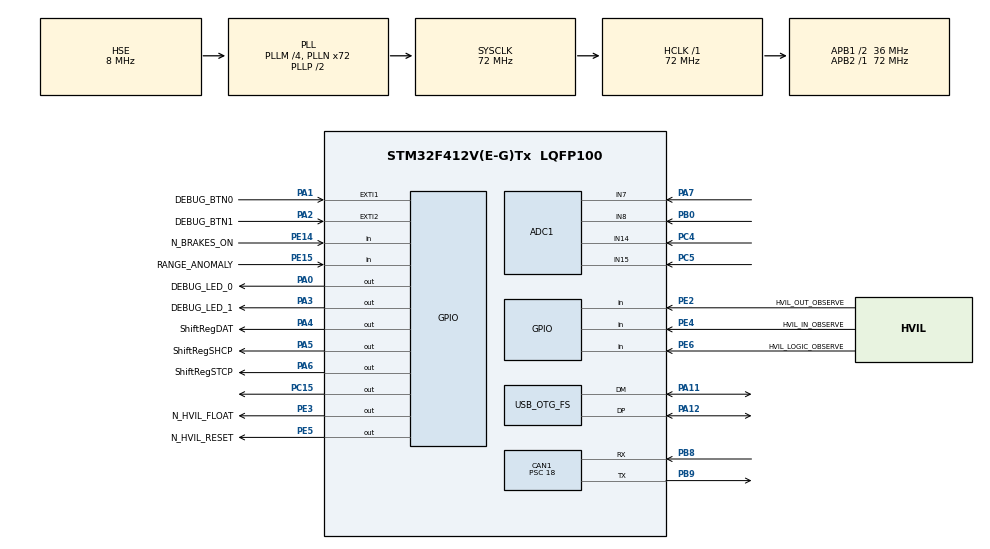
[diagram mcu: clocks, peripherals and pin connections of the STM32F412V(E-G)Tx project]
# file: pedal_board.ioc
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ADC1.Channel-0\#ChannelRegularConversion=ADC_CHANNEL_7
ADC1.ContinuousConvMode=ENABLE
ADC1.DiscontinuousConvMode=DISABLE
ADC1.NbrOfConversion=1
ADC1.NbrOfConversionFlag=1
ADC1.Rank-0\#ChannelRegularConversion=1
ADC1.SamplingTime-0\#ChannelRegularConversion=ADC_SAMPLETIME_3CYCLES
ADC1.ScanConvMode=ENABLE
ADC1.master=1
CAN1.BS1=CAN_BS1_2TQ
CAN1.CalculateBaudRate=500000
CAN1.CalculateTimeBit=2000
CAN1.CalculateTimeQuantum=500.0
CAN1.Mode=CAN_MODE_LOOPBACK
CAN1.Prescaler=18
Mcu.Family=STM32F4
Mcu.Name=STM32F412V(E-G)Tx
Mcu.Package=LQFP100
NVIC.CAN1_RX0_IRQn=true\:0\:0\:false\:false\:true\:true\:true\:true
NVIC.CAN1_RX1_IRQn=true\:0\:0\:false\:false\:true\:true\:true\:true
NVIC.OTG_FS_IRQn=true\:0\:0\:false\:false\:true\:false\:true\:true
NVIC.PriorityGroup=NVIC_PRIORITYGROUP_4
PA0.GPIO_Label=DEBUG_LED_0
PA0.GPIO_PuPd=GPIO_PULLDOWN
PA0.Signal=GPIO_Output
PA1.GPIO_Label=DEBUG_BTN0
PA1.Signal=GPXTI1
PA11.Mode=Device_Only
PA11.Signal=USB_OTG_FS_DM
PA12.Mode=Device_Only
PA12.Signal=USB_OTG_FS_DP
PA13.Mode=Serial_Wire
PA13.Signal=SYS_JTMS-SWDIO
PA14.Mode=Serial_Wire
PA14.Signal=SYS_JTCK-SWCLK
PA2.GPIO_Label=DEBUG_BTN1
PA2.Signal=GPXTI2
PA3.GPIO_Label=DEBUG_LED_1
PA3.GPIO_PuPd=GPIO_PULLDOWN
PA3.Signal=GPIO_Output
PA4.GPIO_Label=ShiftRegDAT
PA4.Signal=GPIO_Output
PA5.GPIO_Label=ShiftRegSHCP
PA5.Signal=GPIO_Output
PA6.GPIO_Label=ShiftRegSTCP
PA6.Signal=GPIO_Output
PA7.Signal=ADCx_IN7
PB0.Signal=ADCx_IN8
PB8.Mode=CAN_Activate
PB8.Signal=CAN1_RX
PB9.Mode=CAN_Activate
PB9.Signal=CAN1_TX
PC15-OSC32_OUT.Signal=GPIO_Output
PC4.Signal=ADCx_IN14
PC5.Signal=ADCx_IN15
PD12.Signal=S_TIM4_CH1
PE14.GPIO_Label=N_BRAKES_ON
PE14.GPIO_PuPd=GPIO_PULLUP
PE14.Signal=GPIO_Input
PE15.GPIO_Label=RANGE_ANOMALY
PE15.GPIO_PuPd=GPIO_NOPULL
PE15.Signal=GPIO_Input
PE2.GPIO_Label=HVIL_OUT_OBSERVE
PE2.Signal=GPIO_Input
PE3.GPIO_Label=N_HVIL_FLOAT
PE3.GPIO_PuPd=GPIO_PULLUP
PE3.PinState=GPIO_PIN_SET
PE3.Signal=GPIO_Output
PE4.GPIO_Label=HVIL_IN_OBSERVE
PE4.Signal=GPIO_Input
PE5.GPIO_Label=N_HVIL_RESET
PE5.GPIO_PuPd=GPIO_PULLUP
PE5.PinState=GPIO_PIN_SET
PE5.Signal=GPIO_Output
PE6.GPIO_Label=HVIL_LOGIC_OBSERVE
PE6.Signal=GPIO_Input
PH0\ -\ OSC_IN.Mode=HSE-External-Oscillator
PH0\ -\ OSC_IN.Signal=RCC_OSC_IN
PH1\ -\ OSC_OUT.Mode=HSE-External-Oscillator
PH1\ -\ OSC_OUT.Signal=RCC_OSC_OUT
ProjectManager.HeapSize=0x200
ProjectManager.StackSize=0x400
ProjectManager.TargetToolchain=STM32CubeIDE
RCC.AHBFreq_Value=72000000
RCC.APB1CLKDivider=RCC_HCLK_DIV2
RCC.APB1Freq_Value=36000000
RCC.APB1TimFreq_Value=72000000
RCC.APB2Freq_Value=72000000
RCC.APB2TimFreq_Value=72000000
RCC.CortexFreq_Value=72000000
RCC.EnbaleCSS=true
RCC.HCLKFreq_Value=72000000
RCC.HSE_VALUE=8000000
RCC.PLLM=4
RCC.PLLN=72
RCC.PLLQ=3
RCC.SYSCLKFreq_VALUE=72000000
RCC.SYSCLKSource=RCC_SYSCLKSOURCE_PLLCLK
RCC.USBFreq_Value=48000000
RCC.VCOOutputFreq_Value=144000000
SH.ADCx_IN14.0=ADC1_IN14,IN14
SH.ADCx_IN15.0=ADC1_IN15,IN15
SH.ADCx_IN7.0=ADC1_IN7,IN7
SH.ADCx_IN8.0=ADC1_IN8,IN8
SH.S_TIM4_CH1.0=TIM4_CH1
TIM3.Period=500
TIM3.Prescaler=7200
USB_DEVICE.CLASS_NAME_FS=CDC
USB_DEVICE.VirtualMode=Cdc
USB_DEVICE.VirtualModeFS=Cdc_FS
USB_OTG_FS.VirtualMode=Device_Only
VP_TIM3_VS_ClockSourceINT.Mode=Internal
VP_USB_DEVICE_VS_USB_DEVICE_CDC_FS.Mode=CDC_FS
board=custom

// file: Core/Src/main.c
/* USER CODE BEGIN Header */
/**
  ******************************************************************************
  * @file           : main.c
  * @brief          : Main program body
  ******************************************************************************
  * @attention
  *
  * Copyright (c) 2023 STMicroelectronics.
  * All rights reserved.
  *
  * This software is licensed under terms that can be found in the LICENSE file
  * in the root directory of this software component.
  * If no LICENSE file comes with this software, it is provided AS-IS.
  *
  ******************************************************************************
  */
/* USER CODE END Header */
#include "main.h"
#include "usb_device.h"

/* USER CODE BEGIN Includes */
#include "74hc595.h"
#include "buttons.h"
/* USER CODE END Includes */

/* USER CODE BEGIN PD */
#define ADC_TIMEOUT_MS 100
#define DEVICE_ID 0x001
/* USER CODE END PD */

ADC_HandleTypeDef hadc1;

CAN_HandleTypeDef hcan1;

TIM_HandleTypeDef htim3;

/* USER CODE BEGIN PV */
enum {
	APPS1_CHANNEL=ADC_CHANNEL_7,
	APPS2_CHANNEL=ADC_CHANNEL_15,
	BSE1_CHANNEL=ADC_CHANNEL_14,
	BSE2_CHANNEL=ADC_CHANNEL_7,
};
const uint32_t sensor_channels[] = {APPS1_CHANNEL, APPS2_CHANNEL, BSE1_CHANNEL, BSE2_CHANNEL};

uint8_t 				hvil_out, hvil_logic, hvil_in, btn1_pressed, btn2_pressed, brakes_on, bad_range;
uint8_t					TxData[5];
uint8_t					RxData[5];
uint8_t 				pedal_vals[5];
CAN_TxHeaderTypeDef   	TxHeader;
CAN_RxHeaderTypeDef   	RxHeader;
uint32_t              	TxMailbox = 0;
/* USER CODE END PV */

void SystemClock_Config(void);
static void MX_GPIO_Init(void);
static void MX_ADC1_Init(void);
static void MX_CAN1_Init(void);
static void MX_TIM3_Init(void);
/* USER CODE BEGIN PFP */
void ADC_channel_select(int channel);
/* USER CODE END PFP */

/* USER CODE BEGIN 0 */
void ADC_channel_select(int channel)
{
  ADC_ChannelConfTypeDef sConfig = {0};
  sConfig.Channel = channel;
  sConfig.Rank = 1;
  sConfig.SamplingTime = ADC_SAMPLETIME_3CYCLES;
  if (HAL_ADC_ConfigChannel(&hadc1, &sConfig) != HAL_OK)
  {
    Error_Handler();
  }
}

void HAL_GPIO_EXTI_Callback(uint16_t GPIO_Pin)
{
	/* some sort of interrupt callback for the buttons*/
	HAL_GPIO_TogglePin(GPIOA, DEBUG_LED_0_Pin);
}

void HAL_CAN_RxFifo0MsgPendingCallback(CAN_HandleTypeDef *hcan)
{
	HAL_CAN_GetRxMessage(hcan, CAN_RX_FIFO0, &RxHeader, RxData);	// don't delay after this!
}
/* USER CODE END 0 */

int main(void)
{

  /* MCU Configuration--------------------------------------------------------*/

  /* Reset of all peripherals, Initializes the Flash interface and the Systick. */
  HAL_Init();

  /* USER CODE BEGIN Init */
  TxHeader.IDE = CAN_ID_STD;
  TxHeader.StdId = 0x466;
  TxHeader.RTR = CAN_RTR_DATA;
  TxHeader.DLC = 5;
  TxHeader.TransmitGlobalTime = DISABLE;
  /* USER CODE END Init */

  /* Configure the system clock */
  SystemClock_Config();

  /* Initialize all configured peripherals */
  MX_GPIO_Init();
  MX_ADC1_Init();
  MX_CAN1_Init();
  MX_USB_DEVICE_Init();
  MX_TIM3_Init();
  /* USER CODE BEGIN 2 */
  HAL_CAN_Start(&hcan1);
  HAL_CAN_ActivateNotification(&hcan1, CAN_IT_RX_FIFO0_MSG_PENDING);

  shift_reg_init(ShiftRegSHCP_GPIO_Port, ShiftRegSTCP_GPIO_Port, ShiftRegDAT_GPIO_Port,
                 ShiftRegSHCP_Pin, ShiftRegSTCP_Pin, ShiftRegDAT_Pin);
  /* USER CODE END 2 */

  /* Infinite loop */
  /* USER CODE BEGIN WHILE */
  while (1)
  {
	  hvil_out = HAL_GPIO_ReadPin(GPIOE, HVIL_OUT_OBSERVE_Pin);
	  hvil_logic = HAL_GPIO_ReadPin(GPIOE, HVIL_LOGIC_OBSERVE_Pin);
	  hvil_in = HAL_GPIO_ReadPin(GPIOE, HVIL_IN_OBSERVE_Pin);
	  brakes_on = !HAL_GPIO_ReadPin(GPIOE, N_BRAKES_ON_Pin);

	  if (HAL_GPIO_ReadPin(GPIOE, RANGE_ANOMALY_Pin)) {
//		  Error_Handler();
	  }

	  /* Read petal sensor values from ADC */
	  for (int i = 0; i < 4; i++) {
		  HAL_ADC_Start(&hadc1);
		  ADC_channel_select(sensor_channels[i]);
		  HAL_ADC_PollForConversion(&hadc1, ADC_TIMEOUT_MS);
		  pedal_vals[i] = HAL_ADC_GetValue(&hadc1);
		  HAL_ADC_Stop(&hadc1);
	  }
	  pedal_vals[4] = brakes_on;

	  for (int i = 0; i < 5; i++) {
		  TxData[i] = pedal_vals[i];
	  }

	  HAL_Delay(1);	// so that the CAN transmissions don't pile up
	  if (HAL_CAN_AddTxMessage(&hcan1, &TxHeader, TxData, &TxMailbox) != HAL_OK) {
		  HAL_GPIO_WritePin(GPIOA, DEBUG_LED_1_Pin, GPIO_PIN_SET);
	//	   Error_Handler ();
	  }
//	  HAL_GPIO_WritePin(DEBUG_LED_0_GPIO_Port, DEBUG_LED_0_Pin, GPIO_PIN_SET);

//	  Number cycling demo
	  for (int i = 0; i < 100; i++){
	  shift_reg_display(i, DPOFF, DPOFF);
	  HAL_Delay(100);
	  }

    /* USER CODE END WHILE */

  }
}
}

void SystemClock_Config(void)
{
  RCC_OscInitTypeDef RCC_OscInitStruct = {0};
  RCC_ClkInitTypeDef RCC_ClkInitStruct = {0};

  /** Configure the main internal regulator output voltage
  */
  __HAL_RCC_PWR_CLK_ENABLE();
  __HAL_PWR_VOLTAGESCALING_CONFIG(PWR_REGULATOR_VOLTAGE_SCALE1);

  /** Initializes the RCC Oscillators according to the specified parameters
  * in the RCC_OscInitTypeDef structure.
  */
  RCC_OscInitStruct.OscillatorType = RCC_OSCILLATORTYPE_HSE;
  RCC_OscInitStruct.HSEState = RCC_HSE_ON;
  RCC_OscInitStruct.PLL.PLLState = RCC_PLL_ON;
  RCC_OscInitStruct.PLL.PLLSource = RCC_PLLSOURCE_HSE;
  RCC_OscInitStruct.PLL.PLLM = 4;
  RCC_OscInitStruct.PLL.PLLN = 72;
  RCC_OscInitStruct.PLL.PLLP = RCC_PLLP_DIV2;
  RCC_OscInitStruct.PLL.PLLQ = 3;
  RCC_OscInitStruct.PLL.PLLR = 2;
  if (HAL_RCC_OscConfig(&RCC_OscInitStruct) != HAL_OK)
  {
    Error_Handler();
  }

  /** Initializes the CPU, AHB and APB buses clocks
  */
  RCC_ClkInitStruct.ClockType = RCC_CLOCKTYPE_HCLK|RCC_CLOCKTYPE_SYSCLK
                              |RCC_CLOCKTYPE_PCLK1|RCC_CLOCKTYPE_PCLK2;
  RCC_ClkInitStruct.SYSCLKSource = RCC_SYSCLKSOURCE_PLLCLK;
  RCC_ClkInitStruct.AHBCLKDivider = RCC_SYSCLK_DIV1;
  RCC_ClkInitStruct.APB1CLKDivider = RCC_HCLK_DIV2;
  RCC_ClkInitStruct.APB2CLKDivider = RCC_HCLK_DIV1;

  if (HAL_RCC_ClockConfig(&RCC_ClkInitStruct, FLASH_LATENCY_2) != HAL_OK)
  {
    Error_Handler();
  }

  /** Enables the Clock Security System
  */
  HAL_RCC_EnableCSS();
}

static void MX_ADC1_Init(void)
{

  ADC_ChannelConfTypeDef sConfig = {0};

  /** Configure the global features of the ADC (Clock, Resolution, Data Alignment and number of conversion)
  */
  hadc1.Instance = ADC1;
  hadc1.Init.ClockPrescaler = ADC_CLOCK_SYNC_PCLK_DIV2;
  hadc1.Init.Resolution = ADC_RESOLUTION_12B;
  hadc1.Init.ScanConvMode = ENABLE;
  hadc1.Init.ContinuousConvMode = ENABLE;
  hadc1.Init.DiscontinuousConvMode = DISABLE;
  hadc1.Init.ExternalTrigConvEdge = ADC_EXTERNALTRIGCONVEDGE_NONE;
  hadc1.Init.ExternalTrigConv = ADC_SOFTWARE_START;
  hadc1.Init.DataAlign = ADC_DATAALIGN_RIGHT;
  hadc1.Init.NbrOfConversion = 1;
  hadc1.Init.DMAContinuousRequests = DISABLE;
  hadc1.Init.EOCSelection = ADC_EOC_SINGLE_CONV;
  if (HAL_ADC_Init(&hadc1) != HAL_OK)
  {
    Error_Handler();
  }

  /** Configure for the selected ADC regular channel its corresponding rank in the sequencer and its sample time.
  */
  sConfig.Channel = ADC_CHANNEL_7;
  sConfig.Rank = 1;
  sConfig.SamplingTime = ADC_SAMPLETIME_3CYCLES;
  if (HAL_ADC_ConfigChannel(&hadc1, &sConfig) != HAL_OK)
  {
    Error_Handler();
  }

}

static void MX_CAN1_Init(void)
{

  hcan1.Instance = CAN1;
  hcan1.Init.Prescaler = 18;
  hcan1.Init.Mode = CAN_MODE_LOOPBACK;
  hcan1.Init.SyncJumpWidth = CAN_SJW_1TQ;
  hcan1.Init.TimeSeg1 = CAN_BS1_2TQ;
  hcan1.Init.TimeSeg2 = CAN_BS2_1TQ;
  hcan1.Init.TimeTriggeredMode = DISABLE;
  hcan1.Init.AutoBusOff = DISABLE;
  hcan1.Init.AutoWakeUp = DISABLE;
  hcan1.Init.AutoRetransmission = DISABLE;
  hcan1.Init.ReceiveFifoLocked = DISABLE;
  hcan1.Init.TransmitFifoPriority = DISABLE;
  if (HAL_CAN_Init(&hcan1) != HAL_OK)
  {
    Error_Handler();
  }
  /* USER CODE BEGIN CAN1_Init 2 */
  CAN_FilterTypeDef canfilterconfig;
  canfilterconfig.FilterActivation = CAN_FILTER_ENABLE;
  canfilterconfig.FilterBank = 10;
  canfilterconfig.FilterFIFOAssignment = CAN_RX_FIFO0;
  canfilterconfig.FilterIdHigh = 0;
  canfilterconfig.FilterIdLow = 0x000;
  canfilterconfig.FilterMaskIdHigh = 0;
  canfilterconfig.FilterMaskIdLow = 0x000;
  canfilterconfig.FilterMode = CAN_FILTERMODE_IDMASK;
  canfilterconfig.FilterScale = CAN_FILTERSCALE_32BIT;
  canfilterconfig.SlaveStartFilterBank = 0;

  HAL_CAN_ConfigFilter(&hcan1, &canfilterconfig);
  /* USER CODE END CAN1_Init 2 */

}

static void MX_TIM3_Init(void)
{

  TIM_ClockConfigTypeDef sClockSourceConfig = {0};
  TIM_MasterConfigTypeDef sMasterConfig = {0};

  htim3.Instance = TIM3;
  htim3.Init.Prescaler = 7200;
  htim3.Init.CounterMode = TIM_COUNTERMODE_UP;
  htim3.Init.Period = 500;
  htim3.Init.ClockDivision = TIM_CLOCKDIVISION_DIV1;
  htim3.Init.AutoReloadPreload = TIM_AUTORELOAD_PRELOAD_DISABLE;
  if (HAL_TIM_Base_Init(&htim3) != HAL_OK)
  {
    Error_Handler();
  }
  sClockSourceConfig.ClockSource = TIM_CLOCKSOURCE_INTERNAL;
  if (HAL_TIM_ConfigClockSource(&htim3, &sClockSourceConfig) != HAL_OK)
  {
    Error_Handler();
  }
  sMasterConfig.MasterOutputTrigger = TIM_TRGO_RESET;
  sMasterConfig.MasterSlaveMode = TIM_MASTERSLAVEMODE_DISABLE;
  if (HAL_TIMEx_MasterConfigSynchronization(&htim3, &sMasterConfig) != HAL_OK)
  {
    Error_Handler();
  }

}

static void MX_GPIO_Init(void)
{
  GPIO_InitTypeDef GPIO_InitStruct = {0};

  /* GPIO Ports Clock Enable */
  __HAL_RCC_GPIOE_CLK_ENABLE();
  __HAL_RCC_GPIOC_CLK_ENABLE();
  __HAL_RCC_GPIOH_CLK_ENABLE();
  __HAL_RCC_GPIOA_CLK_ENABLE();
  __HAL_RCC_GPIOB_CLK_ENABLE();
  __HAL_RCC_GPIOD_CLK_ENABLE();

  /*Configure GPIO pin Output Level */
  HAL_GPIO_WritePin(GPIOE, N_HVIL_FLOAT_Pin|N_HVIL_RESET_Pin, GPIO_PIN_SET);

  /*Configure GPIO pin Output Level */
  HAL_GPIO_WritePin(GPIOC, GPIO_PIN_15, GPIO_PIN_RESET);

  /*Configure GPIO pin Output Level */
  HAL_GPIO_WritePin(GPIOA, DEBUG_LED_0_Pin|DEBUG_LED_1_Pin|ShiftRegDAT_Pin|ShiftRegSHCP_Pin
                          |ShiftRegSTCP_Pin, GPIO_PIN_RESET);

  /*Configure GPIO pins : HVIL_OUT_OBSERVE_Pin HVIL_IN_OBSERVE_Pin HVIL_LOGIC_OBSERVE_Pin RANGE_ANOMALY_Pin */
  GPIO_InitStruct.Pin = HVIL_OUT_OBSERVE_Pin|HVIL_IN_OBSERVE_Pin|HVIL_LOGIC_OBSERVE_Pin|RANGE_ANOMALY_Pin;
  GPIO_InitStruct.Mode = GPIO_MODE_INPUT;
  GPIO_InitStruct.Pull = GPIO_NOPULL;
  HAL_GPIO_Init(GPIOE, &GPIO_InitStruct);

  /*Configure GPIO pins : N_HVIL_FLOAT_Pin N_HVIL_RESET_Pin */
  GPIO_InitStruct.Pin = N_HVIL_FLOAT_Pin|N_HVIL_RESET_Pin;
  GPIO_InitStruct.Mode = GPIO_MODE_OUTPUT_PP;
  GPIO_InitStruct.Pull = GPIO_PULLUP;
  GPIO_InitStruct.Speed = GPIO_SPEED_FREQ_LOW;
  HAL_GPIO_Init(GPIOE, &GPIO_InitStruct);

  /*Configure GPIO pin : PC15 */
  GPIO_InitStruct.Pin = GPIO_PIN_15;
  GPIO_InitStruct.Mode = GPIO_MODE_OUTPUT_PP;
  GPIO_InitStruct.Pull = GPIO_NOPULL;
  GPIO_InitStruct.Speed = GPIO_SPEED_FREQ_LOW;
  HAL_GPIO_Init(GPIOC, &GPIO_InitStruct);

  /*Configure GPIO pins : DEBUG_LED_0_Pin DEBUG_LED_1_Pin */
  GPIO_InitStruct.Pin = DEBUG_LED_0_Pin|DEBUG_LED_1_Pin;
  GPIO_InitStruct.Mode = GPIO_MODE_OUTPUT_PP;
  GPIO_InitStruct.Pull = GPIO_PULLDOWN;
  GPIO_InitStruct.Speed = GPIO_SPEED_FREQ_LOW;
  HAL_GPIO_Init(GPIOA, &GPIO_InitStruct);

  /*Configure GPIO pins : DEBUG_BTN0_Pin DEBUG_BTN1_Pin */
  GPIO_InitStruct.Pin = DEBUG_BTN0_Pin|DEBUG_BTN1_Pin;
  GPIO_InitStruct.Mode = GPIO_MODE_IT_RISING;
  GPIO_InitStruct.Pull = GPIO_NOPULL;
  HAL_GPIO_Init(GPIOA, &GPIO_InitStruct);

  /*Configure GPIO pins : ShiftRegDAT_Pin ShiftRegSHCP_Pin ShiftRegSTCP_Pin */
  GPIO_InitStruct.Pin = ShiftRegDAT_Pin|ShiftRegSHCP_Pin|ShiftRegSTCP_Pin;
  GPIO_InitStruct.Mode = GPIO_MODE_OUTPUT_PP;
  GPIO_InitStruct.Pull = GPIO_NOPULL;
  GPIO_InitStruct.Speed = GPIO_SPEED_FREQ_LOW;
  HAL_GPIO_Init(GPIOA, &GPIO_InitStruct);

  /*Configure GPIO pin : N_BRAKES_ON_Pin */
  GPIO_InitStruct.Pin = N_BRAKES_ON_Pin;
  GPIO_InitStruct.Mode = GPIO_MODE_INPUT;
  GPIO_InitStruct.Pull = GPIO_PULLUP;
  HAL_GPIO_Init(N_BRAKES_ON_GPIO_Port, &GPIO_InitStruct);

  /*Configure GPIO pin : PD12 */
  GPIO_InitStruct.Pin = GPIO_PIN_12;
  GPIO_InitStruct.Mode = GPIO_MODE_AF_PP;
  GPIO_InitStruct.Pull = GPIO_NOPULL;
  GPIO_InitStruct.Speed = GPIO_SPEED_FREQ_LOW;
  GPIO_InitStruct.Alternate = GPIO_AF2_TIM4;
  HAL_GPIO_Init(GPIOD, &GPIO_InitStruct);

}

void Error_Handler(void)
{
  /* USER CODE BEGIN Error_Handler_Debug */
  /* User can add his own implementation to report the HAL error return state */
  __disable_irq();
  HAL_GPIO_WritePin(GPIOE, N_HVIL_FLOAT_Pin, GPIO_PIN_SET);
  while (1)
  {
  }
  /* USER CODE END Error_Handler_Debug */
}
